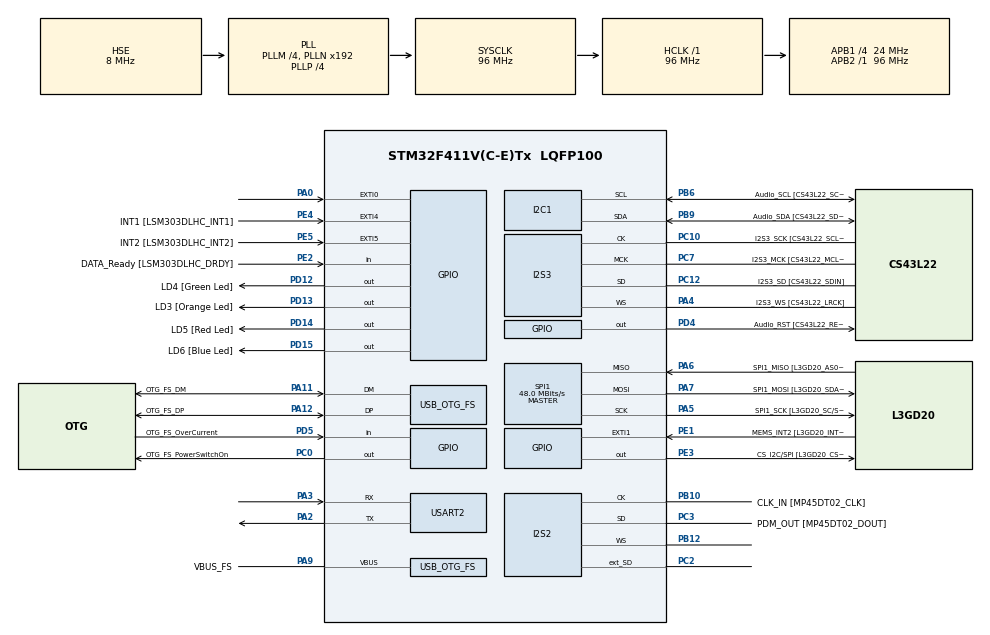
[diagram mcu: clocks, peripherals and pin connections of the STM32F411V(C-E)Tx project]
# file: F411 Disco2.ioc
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Dma.Request0=USART2_RX
Dma.Request1=USART2_TX
Dma.USART2_RX.0.Direction=DMA_PERIPH_TO_MEMORY
Dma.USART2_RX.0.FIFOMode=DMA_FIFOMODE_DISABLE
Dma.USART2_RX.0.Instance=DMA1_Stream5
Dma.USART2_RX.0.MemDataAlignment=DMA_MDATAALIGN_BYTE
Dma.USART2_RX.0.MemInc=DMA_MINC_ENABLE
Dma.USART2_RX.0.Mode=DMA_CIRCULAR
Dma.USART2_RX.0.PeriphDataAlignment=DMA_PDATAALIGN_BYTE
Dma.USART2_RX.0.PeriphInc=DMA_PINC_DISABLE
Dma.USART2_RX.0.Priority=DMA_PRIORITY_VERY_HIGH
Dma.USART2_TX.1.Direction=DMA_MEMORY_TO_PERIPH
Dma.USART2_TX.1.FIFOMode=DMA_FIFOMODE_DISABLE
Dma.USART2_TX.1.Instance=DMA1_Stream6
Dma.USART2_TX.1.MemDataAlignment=DMA_MDATAALIGN_BYTE
Dma.USART2_TX.1.MemInc=DMA_MINC_ENABLE
Dma.USART2_TX.1.Mode=DMA_NORMAL
Dma.USART2_TX.1.PeriphDataAlignment=DMA_PDATAALIGN_BYTE
Dma.USART2_TX.1.PeriphInc=DMA_PINC_DISABLE
Dma.USART2_TX.1.Priority=DMA_PRIORITY_VERY_HIGH
FREERTOS.Tasks01=defaultTask,24,3000,StartDefaultTask,Default,NULL,Static,defaultTaskBuffer,defaultTaskControlBlock;myTask02,8,3000,StartTask02,Default,NULL,Static,myTask02Buffer,myTask02ControlBlock
FREERTOS.configUSE_NEWLIB_REENTRANT=1
I2S2.AudioFreq=I2S_AUDIOFREQ_96K
I2S2.ErrorAudioFreq=0.15 %
I2S2.FullDuplexMode=I2S_FULLDUPLEXMODE_ENABLE
I2S2.Instance=SPI$Index
I2S2.RealAudioFreq=96.153 KHz
I2S2.VirtualMode=I2S_MODE_MASTER
I2S3.AudioFreq=I2S_AUDIOFREQ_96K
I2S3.ErrorAudioFreq=-6.99 %
I2S3.FullDuplexMode=I2S_FULLDUPLEXMODE_DISABLE
I2S3.Instance=SPI$Index
I2S3.RealAudioFreq=89.285 KHz
I2S3.VirtualMode=I2S_MODE_MASTER
Mcu.Family=STM32F4
Mcu.Name=STM32F411V(C-E)Tx
Mcu.Package=LQFP100
NVIC.DMA1_Stream5_IRQn=true\:5\:0\:false\:false\:true\:true\:false\:true\:true
NVIC.DMA1_Stream6_IRQn=true\:5\:0\:false\:false\:true\:true\:false\:true\:true
NVIC.OTG_FS_IRQn=true\:5\:0\:false\:false\:true\:true\:true\:true\:true
NVIC.PriorityGroup=NVIC_PRIORITYGROUP_4
NVIC.TIM1_UP_TIM10_IRQn=true\:15\:0\:false\:false\:true\:false\:false\:true\:true
NVIC.TimeBase=TIM1_UP_TIM10_IRQn
NVIC.TimeBaseIP=TIM1
NVIC.USART2_IRQn=true\:5\:0\:false\:false\:true\:true\:true\:true\:true
PA0-WKUP.GPIO_ModeDefaultEXTI=GPIO_MODE_EVT_RISING
PA0-WKUP.Signal=GPXTI0
PA10.GPIO_Label=OTG_FS_ID
PA10.Signal=USB_OTG_FS_ID
PA11.GPIO_Label=OTG_FS_DM
PA11.Mode=Device_Only
PA11.Signal=USB_OTG_FS_DM
PA12.GPIO_Label=OTG_FS_DP
PA12.Mode=Device_Only
PA12.Signal=USB_OTG_FS_DP
PA13.GPIO_Label=SWDIO
PA13.Mode=Serial_Wire
PA13.Signal=SYS_JTMS-SWDIO
PA14.GPIO_Label=SWCLK
PA14.Mode=Serial_Wire
PA14.Signal=SYS_JTCK-SWCLK
PA2.Mode=Asynchronous
PA2.Signal=USART2_TX
PA3.Mode=Asynchronous
PA3.Signal=USART2_RX
PA4.GPIO_Label=I2S3_WS [CS43L22_LRCK]
PA4.GPIO_Mode=GPIO_MODE_AF_PP
PA4.GPIO_PuPd=GPIO_NOPULL
PA4.GPIO_Speed=GPIO_SPEED_FREQ_LOW
PA4.Mode=Half_Duplex_Master
PA4.Signal=I2S3_WS
PA5.GPIO_Label=SPI1_SCK [L3GD20_SC/SPC]
PA5.Mode=Full_Duplex_Master
PA5.Signal=SPI1_SCK
PA6.GPIO_Label=SPI1_MISO [L3GD20_AS0/SDO]
PA6.Mode=Full_Duplex_Master
PA6.Signal=SPI1_MISO
PA7.GPIO_Label=SPI1_MOSI [L3GD20_SDA/SDI/SDO]
PA7.Mode=Full_Duplex_Master
PA7.Signal=SPI1_MOSI
PA9.GPIO_Label=VBUS_FS
PA9.Mode=Activate_VBUS
PA9.Signal=USB_OTG_FS_VBUS
PB10.GPIO_Label=CLK_IN [MP45DT02_CLK]
PB10.Mode=Full_Duplex_Master
PB10.Signal=I2S2_CK
PB12.Mode=Full_Duplex_Master
PB12.Signal=I2S2_WS
PB3.GPIO_Label=SWO
PB3.Signal=SYS_JTDO-SWO
PB6.GPIO_Label=Audio_SCL [CS43L22_SCL]
PB6.GPIO_Mode=GPIO_MODE_AF_OD
PB6.GPIO_Pu=GPIO_PULLUP
PB6.GPIO_PuPd=GPIO_NOPULL
PB6.GPIO_Speed=GPIO_SPEED_FREQ_LOW
PB6.Mode=I2C
PB6.Signal=I2C1_SCL
PB9.GPIO_Label=Audio_SDA [CS43L22_SDA]
PB9.GPIO_Mode=GPIO_MODE_AF_OD
PB9.GPIO_Pu=GPIO_PULLUP
PB9.GPIO_PuPd=GPIO_NOPULL
PB9.GPIO_Speed=GPIO_SPEED_FREQ_LOW
PB9.Mode=I2C
PB9.Signal=I2C1_SDA
PC0.GPIO_Label=OTG_FS_PowerSwitchOn
PC0.PinState=GPIO_PIN_SET
PC0.Signal=GPIO_Output
PC10.GPIO_Label=I2S3_SCK [CS43L22_SCLK]
PC10.GPIO_Mode=GPIO_MODE_AF_PP
PC10.GPIO_PuPd=GPIO_NOPULL
PC10.GPIO_Speed=GPIO_SPEED_FREQ_LOW
PC10.Mode=Half_Duplex_Master
PC10.Signal=I2S3_CK
PC12.GPIO_Label=I2S3_SD [CS43L22_SDIN]
PC12.GPIO_Mode=GPIO_MODE_AF_PP
PC12.GPIO_PuPd=GPIO_NOPULL
PC12.GPIO_Speed=GPIO_SPEED_FREQ_LOW
PC12.Mode=Half_Duplex_Master
PC12.Signal=I2S3_SD
PC14-OSC32_IN.GPIO_Label=PC14-OSC32_IN
PC14-OSC32_IN.Mode=LSE-External-Oscillator
PC14-OSC32_IN.Signal=RCC_OSC32_IN
PC15-OSC32_OUT.GPIO_Label=PC15-OSC32_OUT
PC15-OSC32_OUT.Mode=LSE-External-Oscillator
PC15-OSC32_OUT.Signal=RCC_OSC32_OUT
PC2.Mode=Full_Duplex_Master
PC2.Signal=I2S2_ext_SD
PC3.GPIO_Label=PDM_OUT [MP45DT02_DOUT]
PC3.Mode=Full_Duplex_Master
PC3.Signal=I2S2_SD
PC7.GPIO_Label=I2S3_MCK [CS43L22_MCLK]
PC7.GPIO_Mode=GPIO_MODE_AF_PP
PC7.GPIO_PuPd=GPIO_NOPULL
PC7.GPIO_Speed=GPIO_SPEED_FREQ_LOW
PC7.Mode=Master_Clock_Activated
PC7.Signal=I2S3_MCK
PD12.GPIO_Label=LD4 [Green Led]
PD12.GPIO_PuPd=GPIO_NOPULL
PD12.GPIO_Speed=GPIO_SPEED_FREQ_LOW
PD12.Signal=GPIO_Output
PD13.GPIO_Label=LD3 [Orange Led]
PD13.GPIO_PuPd=GPIO_NOPULL
PD13.GPIO_Speed=GPIO_SPEED_FREQ_LOW
PD13.Signal=GPIO_Output
PD14.GPIO_Label=LD5 [Red Led]
PD14.GPIO_PuPd=GPIO_NOPULL
PD14.GPIO_Speed=GPIO_SPEED_FREQ_LOW
PD14.Signal=GPIO_Output
PD15.GPIO_Label=LD6 [Blue Led]
PD15.GPIO_PuPd=GPIO_NOPULL
PD15.GPIO_Speed=GPIO_SPEED_FREQ_LOW
PD15.Signal=GPIO_Output
PD4.GPIO_Label=Audio_RST [CS43L22_RESET]
PD4.Signal=GPIO_Output
PD5.GPIO_Label=OTG_FS_OverCurrent
PD5.Signal=GPIO_Input
PE1.GPIO_Label=MEMS_INT2 [L3GD20_INT2]
PE1.GPIO_ModeDefaultEXTI=GPIO_MODE_EVT_RISING
PE1.Signal=GPXTI1
PE2.GPIO_Label=DATA_Ready [LSM303DLHC_DRDY]
PE2.Signal=GPIO_Input
PE3.GPIO_Label=CS_I2C/SPI [L3GD20_CS_I2C/SPI]
PE3.Signal=GPIO_Output
PE4.GPIO_Label=INT1 [LSM303DLHC_INT1]
PE4.GPIO_ModeDefaultEXTI=GPIO_MODE_EVT_RISING
PE4.Signal=GPXTI4
PE5.GPIO_Label=INT2 [LSM303DLHC_INT2]
PE5.GPIO_ModeDefaultEXTI=GPIO_MODE_EVT_RISING
PE5.Signal=GPXTI5
PH0\ -\ OSC_IN.GPIO_Label=PH0-OSC_IN
PH0\ -\ OSC_IN.Mode=HSE-External-Oscillator
PH0\ -\ OSC_IN.Signal=RCC_OSC_IN
PH1\ -\ OSC_OUT.GPIO_Label=PH1-OSC_OUT
PH1\ -\ OSC_OUT.Mode=HSE-External-Oscillator
PH1\ -\ OSC_OUT.Signal=RCC_OSC_OUT
ProjectManager.HeapSize=0x200
ProjectManager.StackSize=0x400
ProjectManager.TargetToolchain=STM32CubeIDE
RCC.48MHZClocksFreq_Value=48000000
RCC.AHBFreq_Value=96000000
RCC.APB1CLKDivider=RCC_HCLK_DIV4
RCC.APB1Freq_Value=24000000
RCC.APB1TimFreq_Value=48000000
RCC.APB2Freq_Value=96000000
RCC.APB2TimFreq_Value=96000000
RCC.CortexFreq_Value=96000000
RCC.HCLKFreq_Value=96000000
RCC.HSE_VALUE=8000000
RCC.HSI_VALUE=16000000
RCC.PLLI2SM=5
RCC.PLLI2SN=200
RCC.PLLM=4
RCC.PLLP=RCC_PLLP_DIV4
RCC.PLLQ=8
RCC.SYSCLKFreq_VALUE=96000000
RCC.SYSCLKSource=RCC_SYSCLKSOURCE_PLLCLK
RCC.VCOOutputFreq_Value=384000000
SPI1.BaudRatePrescaler=SPI_BAUDRATEPRESCALER_2
SPI1.CalculateBaudRate=48.0 MBits/s
SPI1.Direction=SPI_DIRECTION_2LINES
SPI1.Mode=SPI_MODE_MASTER
SPI1.VirtualType=VM_MASTER
USART2.VirtualMode=VM_ASYNC
USB_DEVICE.CLASS_NAME_FS=CDC
USB_DEVICE.PRODUCT_STRING_CDC_FS=STM32 Virtual Port
USB_DEVICE.VirtualMode=Cdc
USB_DEVICE.VirtualModeFS=Cdc_FS
USB_OTG_FS.VirtualMode=Device_Only
VP_FREERTOS_VS_CMSIS_V2.Mode=CMSIS_V2
VP_SYS_VS_tim1.Mode=TIM1
VP_USB_DEVICE_VS_USB_DEVICE_CDC_FS.Mode=CDC_FS
board=STM32F411E-DISCO

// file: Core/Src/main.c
/* USER CODE BEGIN Header */
/**
  ******************************************************************************
  * @file           : main.c
  * @brief          : Main program body
  ******************************************************************************
  * @attention
  *
  * Copyright (c) 2023 STMicroelectronics.
  * All rights reserved.
  *
  * This software is licensed under terms that can be found in the LICENSE file
  * in the root directory of this software component.
  * If no LICENSE file comes with this software, it is provided AS-IS.
  *
  ******************************************************************************
  */
/* USER CODE END Header */
#include "main.h"
#include "cmsis_os.h"
#include "usb_device.h"

typedef StaticTask_t osStaticThreadDef_t;

I2C_HandleTypeDef hi2c1;

I2S_HandleTypeDef hi2s2;
I2S_HandleTypeDef hi2s3;

SPI_HandleTypeDef hspi1;

UART_HandleTypeDef huart2;
DMA_HandleTypeDef hdma_usart2_rx;
DMA_HandleTypeDef hdma_usart2_tx;

/* Definitions for defaultTask */
osThreadId_t defaultTaskHandle;
uint32_t defaultTaskBuffer[ 3000 ];
osStaticThreadDef_t defaultTaskControlBlock;
const osThreadAttr_t defaultTask_attributes = {
  .name = "defaultTask",
  .cb_mem = &defaultTaskControlBlock,
  .cb_size = sizeof(defaultTaskControlBlock),
  .stack_mem = &defaultTaskBuffer[0],
  .stack_size = sizeof(defaultTaskBuffer),
  .priority = (osPriority_t) osPriorityNormal,
};
/* Definitions for myTask02 */
osThreadId_t myTask02Handle;
uint32_t myTask02Buffer[ 3000 ];
osStaticThreadDef_t myTask02ControlBlock;
const osThreadAttr_t myTask02_attributes = {
  .name = "myTask02",
  .cb_mem = &myTask02ControlBlock,
  .cb_size = sizeof(myTask02ControlBlock),
  .stack_mem = &myTask02Buffer[0],
  .stack_size = sizeof(myTask02Buffer),
  .priority = (osPriority_t) osPriorityLow,
};

void SystemClock_Config(void);
void PeriphCommonClock_Config(void);
static void MX_GPIO_Init(void);
static void MX_DMA_Init(void);
static void MX_I2C1_Init(void);
static void MX_I2S2_Init(void);
static void MX_I2S3_Init(void);
static void MX_SPI1_Init(void);
static void MX_USART2_UART_Init(void);
void StartDefaultTask(void *argument);
void StartTask02(void *argument);

/* USER CODE BEGIN 0 */
uint8_t uart_flag;
uint8_t data_rx_1;
void HAL_UART_RxCpltCallback(UART_HandleTypeDef *huart)
{
	if(huart->Instance == huart2.Instance)
	{
		uart_flag = 1;
	}
	HAL_UART_Receive_IT(&huart2, &data_rx_1, 1);
}
/* USER CODE END 0 */

int main(void)
{

  /* MCU Configuration--------------------------------------------------------*/

  /* Reset of all peripherals, Initializes the Flash interface and the Systick. */
  HAL_Init();

  /* Configure the system clock */
  SystemClock_Config();

/* Configure the peripherals common clocks */
  PeriphCommonClock_Config();

  /* USER CODE BEGIN SysInit */

  /* Initialize all configured peripherals */
  MX_GPIO_Init();
  MX_I2C1_Init();
  MX_I2S2_Init();
  MX_I2S3_Init();
  MX_SPI1_Init();
  /* USER CODE END SysInit */

  /* Initialize all configured peripherals */
  MX_GPIO_Init();
  MX_DMA_Init();
  MX_I2C1_Init();
  MX_I2S2_Init();
  MX_I2S3_Init();
  MX_SPI1_Init();
  MX_USART2_UART_Init();
  /* USER CODE BEGIN 2 */
	HAL_UART_Receive_IT(&huart2, &data_rx_1, 1);
	MX_USART2_UART_Init();
  /* USER CODE END 2 */

  /* Init scheduler */
  osKernelInitialize();

  /* Create the thread(s) */
  /* creation of defaultTask */
  defaultTaskHandle = osThreadNew(StartDefaultTask, NULL, &defaultTask_attributes);

  /* creation of myTask02 */
  myTask02Handle = osThreadNew(StartTask02, NULL, &myTask02_attributes);

  /* Start scheduler */
  osKernelStart();

  /* We should never get here as control is now taken by the scheduler */
  /* Infinite loop */
  while (1)
  {

  }
}

void SystemClock_Config(void)
{
  RCC_OscInitTypeDef RCC_OscInitStruct = {0};
  RCC_ClkInitTypeDef RCC_ClkInitStruct = {0};

  /** Configure the main internal regulator output voltage
  */
  __HAL_RCC_PWR_CLK_ENABLE();
  __HAL_PWR_VOLTAGESCALING_CONFIG(PWR_REGULATOR_VOLTAGE_SCALE1);

  /** Initializes the RCC Oscillators according to the specified parameters
  * in the RCC_OscInitTypeDef structure.
  */
  RCC_OscInitStruct.OscillatorType = RCC_OSCILLATORTYPE_HSE;
  RCC_OscInitStruct.HSEState = RCC_HSE_ON;
  RCC_OscInitStruct.PLL.PLLState = RCC_PLL_ON;
  RCC_OscInitStruct.PLL.PLLSource = RCC_PLLSOURCE_HSE;
  RCC_OscInitStruct.PLL.PLLM = 4;
  RCC_OscInitStruct.PLL.PLLN = 192;
  RCC_OscInitStruct.PLL.PLLP = RCC_PLLP_DIV4;
  RCC_OscInitStruct.PLL.PLLQ = 8;
  if (HAL_RCC_OscConfig(&RCC_OscInitStruct) != HAL_OK)
  {
    Error_Handler();
  }

  /** Initializes the CPU, AHB and APB buses clocks
  */
  RCC_ClkInitStruct.ClockType = RCC_CLOCKTYPE_HCLK|RCC_CLOCKTYPE_SYSCLK
                              |RCC_CLOCKTYPE_PCLK1|RCC_CLOCKTYPE_PCLK2;
  RCC_ClkInitStruct.SYSCLKSource = RCC_SYSCLKSOURCE_PLLCLK;
  RCC_ClkInitStruct.AHBCLKDivider = RCC_SYSCLK_DIV1;
  RCC_ClkInitStruct.APB1CLKDivider = RCC_HCLK_DIV4;
  RCC_ClkInitStruct.APB2CLKDivider = RCC_HCLK_DIV1;

  if (HAL_RCC_ClockConfig(&RCC_ClkInitStruct, FLASH_LATENCY_3) != HAL_OK)
  {
    Error_Handler();
  }
}

void PeriphCommonClock_Config(void)
{
  RCC_PeriphCLKInitTypeDef PeriphClkInitStruct = {0};

  /** Initializes the peripherals clock
  */
  PeriphClkInitStruct.PeriphClockSelection = RCC_PERIPHCLK_I2S;
  PeriphClkInitStruct.PLLI2S.PLLI2SN = 200;
  PeriphClkInitStruct.PLLI2S.PLLI2SM = 5;
  PeriphClkInitStruct.PLLI2S.PLLI2SR = 2;
  if (HAL_RCCEx_PeriphCLKConfig(&PeriphClkInitStruct) != HAL_OK)
  {
    Error_Handler();
  }
}

static void MX_I2C1_Init(void)
{

  hi2c1.Instance = I2C1;
  hi2c1.Init.ClockSpeed = 100000;
  hi2c1.Init.DutyCycle = I2C_DUTYCYCLE_2;
  hi2c1.Init.OwnAddress1 = 0;
  hi2c1.Init.AddressingMode = I2C_ADDRESSINGMODE_7BIT;
  hi2c1.Init.DualAddressMode = I2C_DUALADDRESS_DISABLE;
  hi2c1.Init.OwnAddress2 = 0;
  hi2c1.Init.GeneralCallMode = I2C_GENERALCALL_DISABLE;
  hi2c1.Init.NoStretchMode = I2C_NOSTRETCH_DISABLE;
  if (HAL_I2C_Init(&hi2c1) != HAL_OK)
  {
    Error_Handler();
  }

}

static void MX_I2S2_Init(void)
{

  hi2s2.Instance = SPI2;
  hi2s2.Init.Mode = I2S_MODE_MASTER_TX;
  hi2s2.Init.Standard = I2S_STANDARD_PHILIPS;
  hi2s2.Init.DataFormat = I2S_DATAFORMAT_16B;
  hi2s2.Init.MCLKOutput = I2S_MCLKOUTPUT_DISABLE;
  hi2s2.Init.AudioFreq = I2S_AUDIOFREQ_96K;
  hi2s2.Init.CPOL = I2S_CPOL_LOW;
  hi2s2.Init.ClockSource = I2S_CLOCK_PLL;
  hi2s2.Init.FullDuplexMode = I2S_FULLDUPLEXMODE_ENABLE;
  if (HAL_I2S_Init(&hi2s2) != HAL_OK)
  {
    Error_Handler();
  }

}

static void MX_I2S3_Init(void)
{

  hi2s3.Instance = SPI3;
  hi2s3.Init.Mode = I2S_MODE_MASTER_TX;
  hi2s3.Init.Standard = I2S_STANDARD_PHILIPS;
  hi2s3.Init.DataFormat = I2S_DATAFORMAT_16B;
  hi2s3.Init.MCLKOutput = I2S_MCLKOUTPUT_ENABLE;
  hi2s3.Init.AudioFreq = I2S_AUDIOFREQ_96K;
  hi2s3.Init.CPOL = I2S_CPOL_LOW;
  hi2s3.Init.ClockSource = I2S_CLOCK_PLL;
  hi2s3.Init.FullDuplexMode = I2S_FULLDUPLEXMODE_DISABLE;
  if (HAL_I2S_Init(&hi2s3) != HAL_OK)
  {
    Error_Handler();
  }

}

static void MX_SPI1_Init(void)
{

  /* SPI1 parameter configuration*/
  hspi1.Instance = SPI1;
  hspi1.Init.Mode = SPI_MODE_MASTER;
  hspi1.Init.Direction = SPI_DIRECTION_2LINES;
  hspi1.Init.DataSize = SPI_DATASIZE_8BIT;
  hspi1.Init.CLKPolarity = SPI_POLARITY_LOW;
  hspi1.Init.CLKPhase = SPI_PHASE_1EDGE;
  hspi1.Init.NSS = SPI_NSS_SOFT;
  hspi1.Init.BaudRatePrescaler = SPI_BAUDRATEPRESCALER_2;
  hspi1.Init.FirstBit = SPI_FIRSTBIT_MSB;
  hspi1.Init.TIMode = SPI_TIMODE_DISABLE;
  hspi1.Init.CRCCalculation = SPI_CRCCALCULATION_DISABLE;
  hspi1.Init.CRCPolynomial = 10;
  if (HAL_SPI_Init(&hspi1) != HAL_OK)
  {
    Error_Handler();
  }

}

static void MX_USART2_UART_Init(void)
{

  huart2.Instance = USART2;
  huart2.Init.BaudRate = 115200;
  huart2.Init.WordLength = UART_WORDLENGTH_8B;
  huart2.Init.StopBits = UART_STOPBITS_1;
  huart2.Init.Parity = UART_PARITY_NONE;
  huart2.Init.Mode = UART_MODE_TX_RX;
  huart2.Init.HwFlowCtl = UART_HWCONTROL_NONE;
  huart2.Init.OverSampling = UART_OVERSAMPLING_16;
  if (HAL_UART_Init(&huart2) != HAL_OK)
  {
    Error_Handler();
  }

}

static void MX_DMA_Init(void)
{

  /* DMA controller clock enable */
  __HAL_RCC_DMA1_CLK_ENABLE();

  /* DMA interrupt init */
  /* DMA1_Stream5_IRQn interrupt configuration */
  HAL_NVIC_SetPriority(DMA1_Stream5_IRQn, 5, 0);
  HAL_NVIC_EnableIRQ(DMA1_Stream5_IRQn);
  /* DMA1_Stream6_IRQn interrupt configuration */
  HAL_NVIC_SetPriority(DMA1_Stream6_IRQn, 5, 0);
  HAL_NVIC_EnableIRQ(DMA1_Stream6_IRQn);

}

static void MX_GPIO_Init(void)
{
  GPIO_InitTypeDef GPIO_InitStruct = {0};

  /* GPIO Ports Clock Enable */
  __HAL_RCC_GPIOE_CLK_ENABLE();
  __HAL_RCC_GPIOC_CLK_ENABLE();
  __HAL_RCC_GPIOH_CLK_ENABLE();
  __HAL_RCC_GPIOA_CLK_ENABLE();
  __HAL_RCC_GPIOB_CLK_ENABLE();
  __HAL_RCC_GPIOD_CLK_ENABLE();

  /*Configure GPIO pin Output Level */
  HAL_GPIO_WritePin(CS_I2C_SPI_GPIO_Port, CS_I2C_SPI_Pin, GPIO_PIN_RESET);

  /*Configure GPIO pin Output Level */
  HAL_GPIO_WritePin(OTG_FS_PowerSwitchOn_GPIO_Port, OTG_FS_PowerSwitchOn_Pin, GPIO_PIN_SET);

  /*Configure GPIO pin Output Level */
  HAL_GPIO_WritePin(GPIOD, LD4_Pin|LD3_Pin|LD5_Pin|LD6_Pin
                          |Audio_RST_Pin, GPIO_PIN_RESET);

  /*Configure GPIO pin : DATA_Ready_Pin */
  GPIO_InitStruct.Pin = DATA_Ready_Pin;
  GPIO_InitStruct.Mode = GPIO_MODE_INPUT;
  GPIO_InitStruct.Pull = GPIO_NOPULL;
  HAL_GPIO_Init(DATA_Ready_GPIO_Port, &GPIO_InitStruct);

  /*Configure GPIO pin : CS_I2C_SPI_Pin */
  GPIO_InitStruct.Pin = CS_I2C_SPI_Pin;
  GPIO_InitStruct.Mode = GPIO_MODE_OUTPUT_PP;
  GPIO_InitStruct.Pull = GPIO_NOPULL;
  GPIO_InitStruct.Speed = GPIO_SPEED_FREQ_LOW;
  HAL_GPIO_Init(CS_I2C_SPI_GPIO_Port, &GPIO_InitStruct);

  /*Configure GPIO pins : INT1_Pin INT2_Pin MEMS_INT2_Pin */
  GPIO_InitStruct.Pin = INT1_Pin|INT2_Pin|MEMS_INT2_Pin;
  GPIO_InitStruct.Mode = GPIO_MODE_EVT_RISING;
  GPIO_InitStruct.Pull = GPIO_NOPULL;
  HAL_GPIO_Init(GPIOE, &GPIO_InitStruct);

  /*Configure GPIO pin : OTG_FS_PowerSwitchOn_Pin */
  GPIO_InitStruct.Pin = OTG_FS_PowerSwitchOn_Pin;
  GPIO_InitStruct.Mode = GPIO_MODE_OUTPUT_PP;
  GPIO_InitStruct.Pull = GPIO_NOPULL;
  GPIO_InitStruct.Speed = GPIO_SPEED_FREQ_LOW;
  HAL_GPIO_Init(OTG_FS_PowerSwitchOn_GPIO_Port, &GPIO_InitStruct);

  /*Configure GPIO pin : PA0 */
  GPIO_InitStruct.Pin = GPIO_PIN_0;
  GPIO_InitStruct.Mode = GPIO_MODE_EVT_RISING;
  GPIO_InitStruct.Pull = GPIO_NOPULL;
  HAL_GPIO_Init(GPIOA, &GPIO_InitStruct);

  /*Configure GPIO pins : LD4_Pin LD3_Pin LD5_Pin LD6_Pin
                           Audio_RST_Pin */
  GPIO_InitStruct.Pin = LD4_Pin|LD3_Pin|LD5_Pin|LD6_Pin
                          |Audio_RST_Pin;
  GPIO_InitStruct.Mode = GPIO_MODE_OUTPUT_PP;
  GPIO_InitStruct.Pull = GPIO_NOPULL;
  GPIO_InitStruct.Speed = GPIO_SPEED_FREQ_LOW;
  HAL_GPIO_Init(GPIOD, &GPIO_InitStruct);

  /*Configure GPIO pin : OTG_FS_OverCurrent_Pin */
  GPIO_InitStruct.Pin = OTG_FS_OverCurrent_Pin;
  GPIO_InitStruct.Mode = GPIO_MODE_INPUT;
  GPIO_InitStruct.Pull = GPIO_NOPULL;
  HAL_GPIO_Init(OTG_FS_OverCurrent_GPIO_Port, &GPIO_InitStruct);

}

void StartDefaultTask(void *argument)
{
  /* init code for USB_DEVICE */
  MX_USB_DEVICE_Init();
  /* USER CODE BEGIN 5 */
  /* Infinite loop */
  for(;;)
  {
	uint8_t tx_data[] = "Hello, computer!\n";
	HAL_UART_Transmit(&huart2, tx_data, sizeof(tx_data), 500);

	uint8_t rx_data[50];
	HAL_UART_Receive(&huart2, rx_data, sizeof(rx_data), 500);

	HAL_GPIO_TogglePin(GPIOD,GPIO_PIN_15);
    osDelay(1);
  }
  /* USER CODE END 5 */
}

void StartTask02(void *argument)
{
  for(;;)
  {
    osDelay(1);
  }
}

void HAL_TIM_PeriodElapsedCallback(TIM_HandleTypeDef *htim)
{
  if (htim->Instance == TIM1) {
    HAL_IncTick();
  }
}

void Error_Handler(void)
{
  __disable_irq();
  while (1)
  {
  }
}
